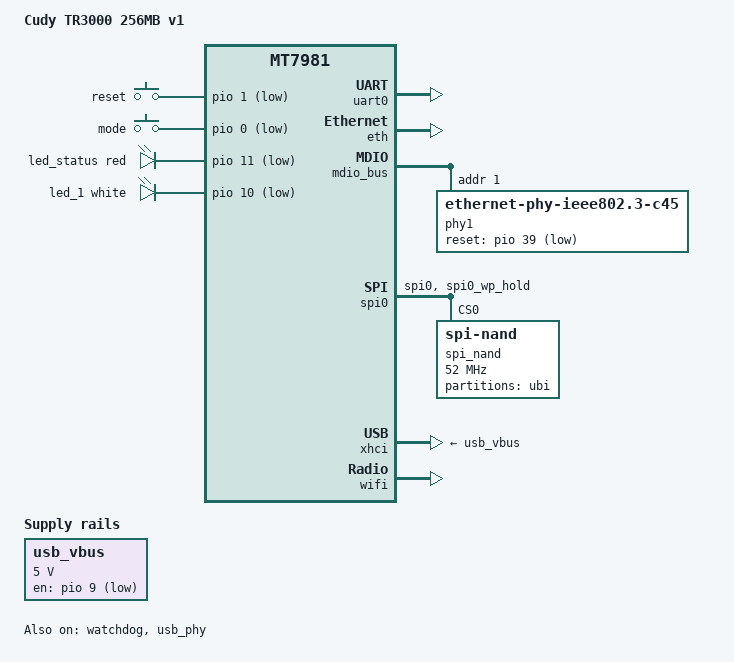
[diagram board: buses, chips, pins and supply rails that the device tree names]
// SPDX-License-Identifier: (GPL-2.0 OR MIT)

#include <dt-bindings/leds/common.h>

#include "mt7981b-cudy-tr3000-v1.dtsi"

/ {
	model = "Cudy TR3000 256MB v1";
	compatible = "cudy,tr3000-256mb-v1", "mediatek,mt7981-spim-snand-rfb";

	aliases {
		label-mac-device = &gmac1;
		led-boot = &led_status;
		led-failsafe = &led_status;
		led-running = &led_status;
		led-upgrade = &led_status;
		serial0 = &uart0;
	};

	chosen {
		stdout-path = "serial0:115200n8";
	};

	gpio-keys {
		compatible = "gpio-keys";

		reset {
			label = "reset";
			linux,code = <KEY_RESTART>;
			gpios = <&pio 1 GPIO_ACTIVE_LOW>;
		};

		mode {
			label = "mode";
			linux,input-type = <EV_SW>;
			linux,code = <BTN_0>;
			gpios = <&pio 0 GPIO_ACTIVE_LOW>;
			debounce-interval = <60>;
		};
	};

	leds {
		compatible = "gpio-leds";

		led_status: led_0 {
			function = LED_FUNCTION_POWER;
			color = <LED_COLOR_ID_RED>;
			gpios = <&pio 11 GPIO_ACTIVE_LOW>;
		};

		led_1 {
			function = LED_FUNCTION_STATUS;
			color = <LED_COLOR_ID_WHITE>;
			gpios = <&pio 10 GPIO_ACTIVE_LOW>;
		};

	};

	usb_vbus: regulator-usb {
		compatible = "regulator-fixed";

		regulator-name = "usb-vbus";
		regulator-min-microvolt = <5000000>;
		regulator-max-microvolt = <5000000>;

		gpios = <&pio 9 GPIO_ACTIVE_LOW>;
		regulator-boot-on;
	};
};

&uart0 {
	status = "okay";
};

&watchdog {
	status = "okay";
};

&eth {
	pinctrl-names = "default";
	pinctrl-0 = <&mdio_pins>;

	status = "okay";

	gmac0: mac@0 {
		compatible = "mediatek,eth-mac";
		reg = <0>;
		phy-mode = "2500base-x";
		phy-handle = <&phy1>;
		nvmem-cell-names = "mac-address";
		nvmem-cells = <&macaddr_bdinfo_de00 1>;
	};

	gmac1: mac@1 {
		compatible = "mediatek,eth-mac";
		reg = <1>;
		phy-mode = "gmii";
		phy-handle = <&int_gbe_phy>;
		nvmem-cell-names = "mac-address";
		nvmem-cells = <&macaddr_bdinfo_de00 0>;
	};
};

&mdio_bus {
	phy1: phy@1 {
		reg = <1>;
		compatible = "ethernet-phy-ieee802.3-c45";
		phy-mode = "2500base-x";
		reset-gpios = <&pio 39 GPIO_ACTIVE_LOW>;
		interrupts = <38 IRQ_TYPE_LEVEL_LOW>;
		reset-assert-us = <100000>;
		reset-deassert-us = <100000>;
		realtek,aldps-enable;
	};
};

&spi0 {
	pinctrl-names = "default";
	pinctrl-0 = <&spi0_flash_pins>;
	status = "okay";

	spi_nand: flash@0 {
		#address-cells = <1>;
		#size-cells = <1>;
		compatible = "spi-nand";
		reg = <0>;
		spi-max-frequency = <52000000>;

		spi-cal-enable;
		spi-cal-mode = "read-data";
		spi-cal-datalen = <7>;
		spi-cal-data = /bits/ 8 <0x53 0x50 0x49 0x4E 0x41 0x4E 0x44>;
		spi-cal-addrlen = <5>;
		spi-cal-addr = /bits/ 32 <0x0 0x0 0x0 0x0 0x0>;

		spi-tx-bus-width = <4>;
		spi-rx-bus-width = <4>;
		mediatek,nmbm;
		mediatek,bmt-max-ratio = <1>;
		mediatek,bmt-max-reserved-blocks = <64>;

		partitions {
			compatible = "fixed-partitions";
			#address-cells = <1>;
			#size-cells = <1>;

			partition@580000 {
				label = "ubi";
				reg = <0x5C0000 0xE600000>;
				compatible = "linux,ubi"
			};
		};
	};
};

&pio {
	spi0_flash_pins: spi0-pins {
		mux {
			function = "spi";
			groups = "spi0", "spi0_wp_hold";
		};
	};
};

&usb_phy {
	status = "okay";
};

&xhci {
	status = "okay";
	vbus-supply = <&usb_vbus>;
};

&wifi {
	status = "okay";
	nvmem-cells = <&eeprom_factory_0>;
	nvmem-cell-names = "eeprom";
};
